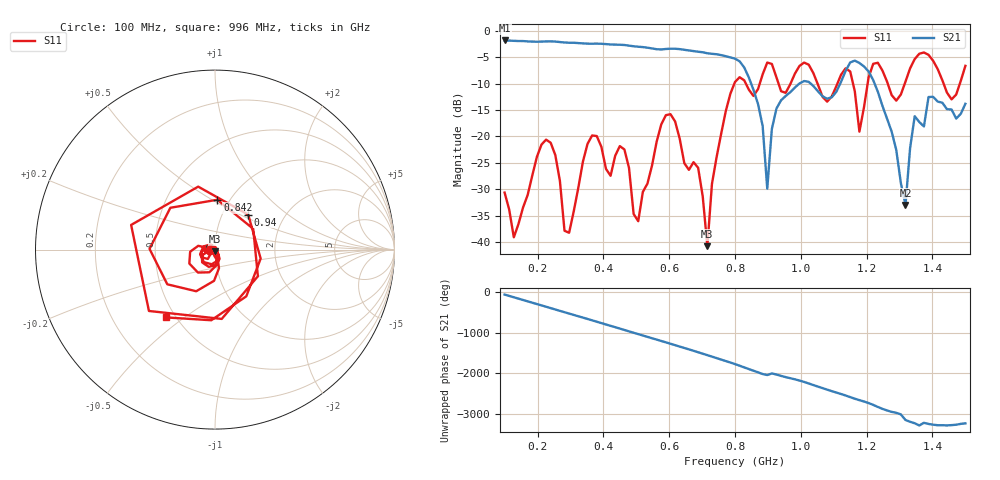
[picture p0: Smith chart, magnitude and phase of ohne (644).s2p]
! NanoVNA-App
! Date: 2025-09-25 14:25:49
! Start: 100MHz Stop: 1,5GHz Points: 101
! S-Parameter data: F S11 S21 S12 S22
# Hz S RI R 50
!  Frequency  S11_Real  S11_Imag  S21_Real  S21_Imag  S12_Real  S12_Imag  S22_Real  S22_Imag
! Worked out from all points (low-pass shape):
!   101 points, 100 MHz to 1.5 GHz, reference 50 ohm
!   highest |S21| = -1.79 dB at 100 MHz (marker M1); lowest = -33.0 dB at 1.318 GHz (marker M2)
!   |S21| within 3 dB of the highest: start of sweep to 772.6 MHz
!   lowest |S11| = -40.8 dB at 716 MHz (marker M3), VSWR 1.02, Z = 49.7 - j0.865 ohm
!   |S11| at or under -10 dB: start of sweep to 797.9 MHz; 833.2 MHz to 875.1 MHz (41.92 MHz wide, 4.91 % of centre); 1.051 GHz to 1.111 GHz (60.01 MHz wide, 5.55 % of centre) (the widest 3 of 7)
!   S12 and S22 are empty: the file has one direction only
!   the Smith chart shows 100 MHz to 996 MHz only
!   S11 on the Smith chart (normalised r, x): 100 MHz: 0.94, -0.01; 842 MHz: 0.88, +0.53; 940 MHz: 1.32, +0.56; 996 MHz: 0.44, -0.43
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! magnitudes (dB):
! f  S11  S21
! 100 MHz  -30.6  -1.8
! 128 MHz  -39.1  -1.9
! 226 MHz  -20.6  -2.0
! 296 MHz  -38.2  -2.2
! 338 MHz  -24.7  -2.4
! 464 MHz  -22.5  -2.7
! 506 MHz  -36.1  -3.0
! 576 MHz  -17.7  -3.5
! 688 MHz  -25.9  -3.9
! 716 MHz  -40.8  -4.2
! 800 MHz  -9.7  -5.2
! 842 MHz  -11.1  -8.8
! 898 MHz  -6.0  -29.9
! 940 MHz  -11.4  -13.1
! 996 MHz  -6.6  -9.9
! 1.038 GHz  -8.0  -10.4
! 1.178 GHz  -19.1  -6.1
! 1.22 GHz  -6.2  -9.3
! 1.276 GHz  -12.2  -19.1
! 1.318 GHz  -9.6  -33.0
! 1.346 GHz  -5.3  -16.2
! 1.5 GHz  -6.6  -13.8
